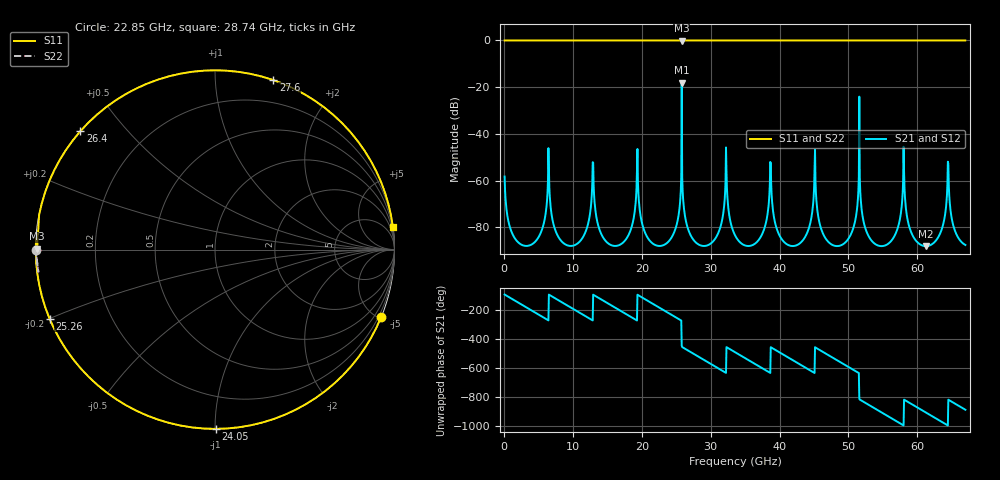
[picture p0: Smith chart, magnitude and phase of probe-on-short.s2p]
# Hz S RI R 50.0
!freq ReS11 ImS11 ReS21 ImS21 ReS12 ImS12 ReS22 ImS22
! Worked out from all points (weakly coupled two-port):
!   1000 points, 67 MHz to 67 GHz, reference 50 ohm
!   highest |S21| = -18.04 dB at 25.8 GHz (marker M1); lowest = -88.1 dB at 61.24 GHz (marker M2)
!   lowest |S11| = -0.1 dB at 25.8 GHz (marker M3), VSWR 219.16, Z = 0.228 + j0.116 ohm
!   |S11| at or under -10 dB: nowhere
!   |S22| runs from -0.1 to 0.0 dB; largest |S21 - S12| = 6.1e-15
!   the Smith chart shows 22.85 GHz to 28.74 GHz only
!   S11 on the Smith chart (normalised r, x): 22.85 GHz: 0.02, -5.14; 24.05 GHz: 0.00, -1.01; 25.26 GHz: 0.00, -0.20; 26.4 GHz: 0.00, +0.38; 27.6 GHz: 0.00, +1.40; 28.74 GHz: 0, +16
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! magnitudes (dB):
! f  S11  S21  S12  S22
! 67 MHz  0.0  -58.2  -58.2  0.0
! 1.139 GHz  0.0  -82.4  -82.4  0.0
! 6.432 GHz  0.0  -46.1  -46.1  0.0
! 11.26 GHz  0.0  -85.1  -85.1  0.0
! 19.36 GHz  0.0  -46.5  -46.5  0.0
! 22.38 GHz  0.0  -87.9  -87.9  0.0
! 22.85 GHz  0.0  -87.9  -87.9  0.0
! 24.05 GHz  0.0  -85.5  -85.5  0.0
! 25.26 GHz  0.0  -76.2  -76.2  0.0
! 25.8 GHz  -0.1  -18.0  -18.0  -0.1
! 26.4 GHz  0.0  -77.2  -77.2  0.0
! 27.6 GHz  0.0  -85.7  -85.7  0.0
! 28.74 GHz  0.0  -87.9  -87.9  0.0
! 32.23 GHz  0.0  -45.8  -45.8  0.0
! 33.57 GHz  0.0  -83.6  -83.6  0.0
! 44.69 GHz  0.0  -74.8  -74.8  0.0
! 51.59 GHz  0.0  -24.1  -24.1  0.0
! 55.88 GHz  0.0  -86.8  -86.8  0.0
! 58.02 GHz  0.0  -45.5  -45.5  0.0
! 61.24 GHz  0.0  -88.1  -88.1  0.0
! 64.45 GHz  0.0  -51.9  -51.9  0.0
! 67 GHz  0.0  -87.6  -87.6  0.0
